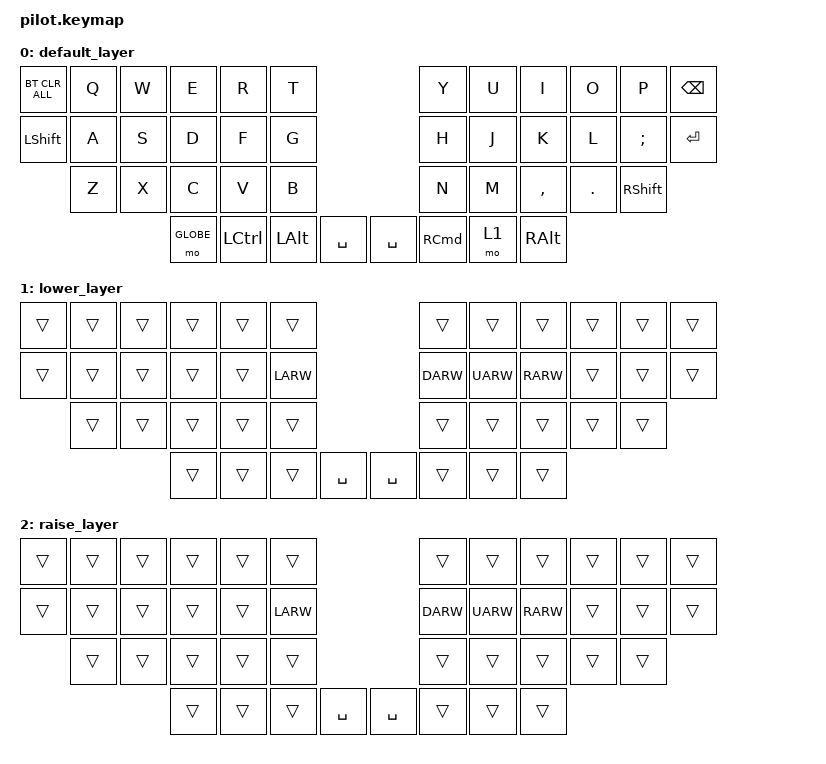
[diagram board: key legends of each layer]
/*
 * Copyright (c) 2020 The ZMK Contributors
 *
 * SPDX-License-Identifier: MIT
 */

#include <behaviors.dtsi>
#include <dt-bindings/zmk/keys.h>
#include <dt-bindings/zmk/bt.h>

/ {
        keymap {
                compatible = "zmk,keymap";

                default_layer {
// -----------------------------------------------------------------------------------------
// |  ESC |  Q  |  W  |  E  |  R   |  T  |                       |  Y  |  U   |  I  |  O  |  P   | BSPC |
// |  TAB |  A  |  S  |  D  |  F   |  G  |                       |  H  |  J   |  K  |  L  |  ;   | ENT  |
//        |  Z  |  X  |  C  |  V   |  B  |                       |  N  |  M   |  ,  |  .  | SHFT | 
//                    | FN  | CTRL | ALT | SPACE |       | SPACE | CMD | ***  | ALT |
                        bindings = <
   &bt BT_CLR_ALL   &kp Q &kp W &kp E     &kp R     &kp T                                &kp Y    &kp U  &kp I     &kp O   &kp P    &kp BSPC
   &kp LSHFT    &kp A &kp S &kp D     &kp F     &kp G                                &kp H    &kp J  &kp K     &kp L   &kp SEMI &kp RET
                &kp Z &kp X &kp C     &kp V     &kp B                                &kp N    &kp M  &kp COMMA &kp DOT &kp RSHFT 
                            &mo GLOBE &kp LCTRL &kp LALT &kp SPACE         &kp SPACE &kp RCMD &mo 1  &kp RALT
                        >;
                };
                lower_layer {
// -----------------------------------------------------------------------------------------
// |  TAB |  1  |  2  |  3  |  4  |  5  |   |  6  |  7  |  8  |  9  |  0  | BSPC |
// | BTCLR| BT1 | BT2 | BT3 | BT4 | BT5 |   | LFT | DWN |  UP | RGT |     |      |
// | SHFT |     |     |     |     |     |   |     |     |     |     |     |      |
//                    | GUI |     | SPC |   | ENT |     | ALT |
                        bindings = <
        &trans      &trans      &trans      &trans      &trans         &trans                              &trans      &trans      &trans      &trans      &trans      &trans     
        &trans      &trans      &trans      &trans      &trans         &kp LARW                            &kp DARW    &kp UARW    &kp RARW    &trans      &trans      &trans     
                    &trans      &trans      &trans      &trans         &trans                              &trans      &trans      &trans      &trans      &trans
                                            &trans      &trans         &trans      &kp SPACE   &kp SPACE   &trans      &trans      &trans 

                        >;
                };

               raise_layer { 
// ------------------------------(Placeholder)-------------------------------------
// |  TAB |  1  |  2  |  3  |  4  |  5  |   |  6  |  7  |  8  |  9  |  0  | BSPC |
// | BTCLR| BT1 | BT2 | BT3 | BT4 | BT5 |   | LFT | DWN |  UP | RGT |     |      |
// | SHFT |     |     |     |     |     |   |     |     |     |     |     |      |
//                    | GUI |     | SPC |   | ENT |     | ALT |
                        bindings = <
        &trans      &trans      &trans      &trans      &trans         &trans                              &trans      &trans      &trans      &trans      &trans      &trans     
        &trans      &trans      &trans      &trans      &trans         &kp LARW                            &kp DARW    &kp UARW    &kp RARW    &trans      &trans      &trans     
                    &trans      &trans      &trans      &trans         &trans                              &trans      &trans      &trans      &trans      &trans
                                            &trans      &trans         &trans      &kp SPACE   &kp SPACE   &trans      &trans      &trans 

                        >;
                };
        };
};
